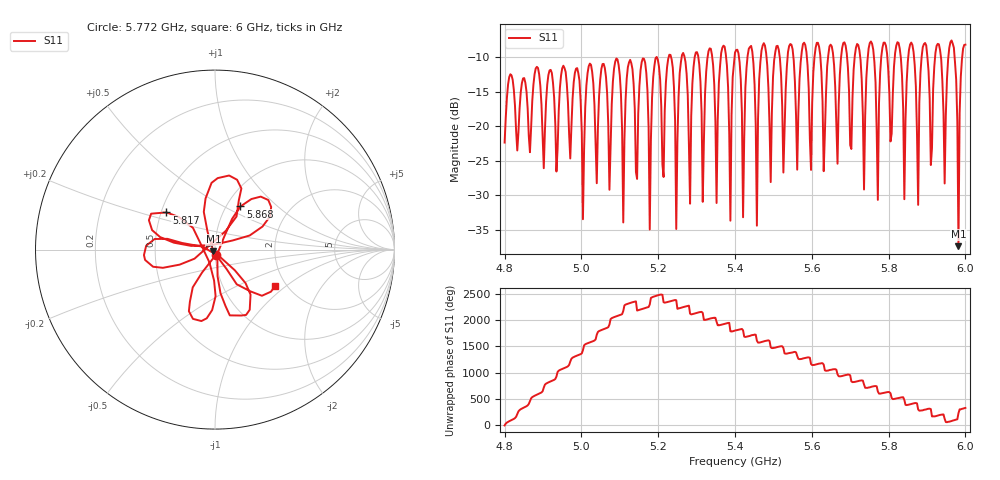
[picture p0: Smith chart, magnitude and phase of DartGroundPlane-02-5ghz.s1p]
! NanoVNA-App
! Date: 2026-05-25 02:04:06
! Start: 4.8GHz Stop: 6GHz Points: 401
! S-Parameter data: F S11
# Hz S RI R 50
!  Frequency  S11_Real  S11_Imag
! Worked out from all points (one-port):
!   401 points, 4.8 GHz to 6 GHz, reference 50 ohm
!   lowest |S11| = -37.4 dB at 5.982 GHz (marker M1), VSWR 1.03, Z = 49.1 - j1 ohm
!   |S11| at or under -10 dB: start of sweep to 5.195 GHz; 5.197 GHz to 5.227 GHz (30.45 MHz wide, 0.584 % of centre); 5.234 GHz to 5.261 GHz (27.24 MHz wide, 0.519 % of centre)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
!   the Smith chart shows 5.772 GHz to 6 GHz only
!   S11 on the Smith chart (normalised r, x): 5.772 GHz: 1.01, -0.06; 5.817 GHz: 0.53, +0.25; 5.868 GHz: 1.16, +0.61; 6 GHz: 1.76, -0.84
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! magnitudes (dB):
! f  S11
! 4.8 GHz  -22.3
! 4.95 GHz  -11.6
! 5.004 GHz  -33.5
! 5.022 GHz  -10.9
! 5.1 GHz  -12.6
! 5.163 GHz  -10.2
! 5.178 GHz  -34.9
! 5.232 GHz  -9.6
! 5.25 GHz  -22.2
! 5.265 GHz  -9.3
! 5.283 GHz  -31.2
! 5.298 GHz  -9.3
! 5.316 GHz  -30.9
! 5.4 GHz  -9.3
! 5.457 GHz  -34.4
! 5.472 GHz  -8.3
! 5.493 GHz  -28.1
! 5.55 GHz  -8.8
! 5.7 GHz  -22.7
! 5.754 GHz  -7.7
! 5.772 GHz  -30.7
! 5.817 GHz  -9.4
! 5.85 GHz  -10.6
! 5.868 GHz  -11.1
! 5.946 GHz  -28.3
! 5.964 GHz  -7.5
! 5.982 GHz  -37.4
! 6 GHz  -8.1
